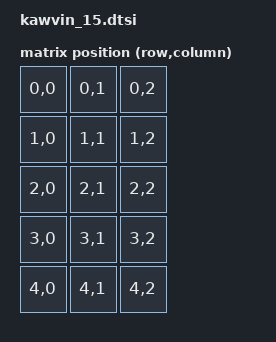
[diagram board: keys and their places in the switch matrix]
/*
 * Copyright (c) 2023 The ZMK Contributors
 *
 * SPDX-License-Identifier: MIT
 */

#include <behaviors.dtsi>
#include <dt-bindings/zmk/matrix_transform.h>
#include <physical_layouts.dtsi>

// 鼠标滚轮（原生ZMK，安全无冲突）
#include <behaviors/mouse_keys.dtsi>
#include <dt-bindings/zmk/mouse.h>


// 鼠标灵敏度（只定义一次！）
#define ZMK_MOUSE_DEFAULT_MOVE_VAL 1200
// 滚轮速度
#define ZMK_MOUSE_DEFAULT_SCRL_VAL 30   // 滚轮速度

// 鼠标快捷宏（必须放在头文件之后！）
// 鼠标指针移动快捷宏
#define U_MS_U &mmv MOVE_UP
#define U_MS_D &mmv MOVE_DOWN
#define U_MS_L &mmv MOVE_LEFT
#define U_MS_R &mmv MOVE_RIGHT


/ {
    // 👇 必须加：定义按键扫描矩阵（5行3列，适配你的ky15键盘）
    kscan0: kscan_0 {
        compatible = "zmk,kscan-gpio-matrix";
        label = "KSCAN";
        
        // 行引脚（根据你的键盘实际接线修改）
        // row-gpios
        //     = <&gpio0 22 (GPIO_PULL_DOWN | GPIO_ACTIVE_HIGH)>
        //     , <&gpio0 24 (GPIO_PULL_DOWN | GPIO_ACTIVE_HIGH)>
        //     , <&gpio1  4 (GPIO_PULL_DOWN | GPIO_ACTIVE_HIGH)>
        //     , <&gpio1  6 (GPIO_PULL_DOWN | GPIO_ACTIVE_HIGH)>
        //     ;
        // 列引脚（根据你的键盘实际接线修改）
        // col-gpios
        //     = <&gpio0 20 GPIO_ACTIVE_HIGH>
        //     , <&gpio0 17 GPIO_ACTIVE_HIGH>
        //     , <&gpio0 31 GPIO_ACTIVE_HIGH>
        //     ;
    };

    // 👇 必须加：矩阵转换
    matrix_transform0: keymap_transform_0 {
        compatible = "zmk,matrix-transform";
        columns = <3>;
        rows = <5>;
        map = <
            RC(0,0) RC(0,1) RC(0,2)
            RC(1,0) RC(1,1) RC(1,2)
            RC(2,0) RC(2,1) RC(2,2)
            RC(3,0) RC(3,1) RC(3,2)
            RC(4,0) RC(4,1) RC(4,2)
        >;
    };

    // 你的物理布局
    ky15_layout: ky15_layout {
        compatible = "zmk,physical-layout";
        display-name = "ky15v1";

        kscan = <&kscan0>;
        transform = <&matrix_transform0>;

        keys  //                     w   h    x    y     rot    rx    ry
            = <&key_physical_attrs 100 100    0    0       0     0     0>
            , <&key_physical_attrs 100 100  100    0       0     0     0>
            , <&key_physical_attrs 100 100  200    0       0     0     0>
            , <&key_physical_attrs 100 100    0  100       0     0     0>
            , <&key_physical_attrs 100 100  100  100       0     0     0>
            , <&key_physical_attrs 100 100  200  100       0     0     0>
            , <&key_physical_attrs 100 100    0  200       0     0     0>
            , <&key_physical_attrs 100 100  100  200       0     0     0>
            , <&key_physical_attrs 100 100  200  200       0     0     0>
            , <&key_physical_attrs 100 100    0  300       0     0     0>
            , <&key_physical_attrs 100 100  100  300       0     0     0>
            , <&key_physical_attrs 100 100  200  300       0     0     0>
            , <&key_physical_attrs 100 100    0  400       0     0     0>
            , <&key_physical_attrs 100 100  100  400       0     0     0>
            , <&key_physical_attrs 100 100  200  400       0     0     0>
            ;
    };

    chosen {
        physical-layouts = &ky15_layout;
    };
};

// USB 配置
&usbd {
    compatible = "nordic,nrf-usbd";
    status = "okay";
};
